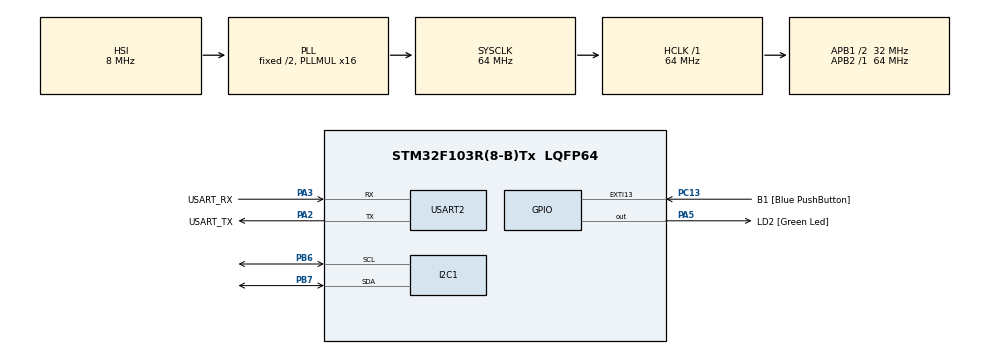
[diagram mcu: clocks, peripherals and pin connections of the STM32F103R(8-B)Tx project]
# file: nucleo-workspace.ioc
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Mcu.Family=STM32F1
PA2.GPIO_PuPd=GPIO_NOPULL
PD1-OSC_OUT.Mode=HSE-External-Oscillator
PA14.GPIO_Label=TCK
PA3.GPIO_PuPd=GPIO_NOPULL
PA2.GPIO_Speed=GPIO_SPEED_FREQ_LOW
PC13-TAMPER-RTC.Signal=GPXTI13
PD0-OSC_IN.Signal=RCC_OSC_IN
RCC.APB1CLKDivider=RCC_HCLK_DIV2
PC14-OSC32_IN.Signal=RCC_OSC32_IN
PA3.GPIO_Speed=GPIO_SPEED_FREQ_LOW
RCC.SYSCLKSource=RCC_SYSCLKSOURCE_PLLCLK
ProjectManager.StackSize=0x400
PD1-OSC_OUT.Signal=RCC_OSC_OUT
PA13.Signal=SYS_JTMS-SWDIO
PA3.Mode=Asynchronous
ProjectManager.TargetToolchain=STM32CubeIDE
PA3.GPIO_Mode=GPIO_MODE_AF_PP
RCC.HCLKFreq_Value=64000000
RCC.APB2TimFreq_Value=64000000
PB6.Signal=I2C1_SCL
PB6.Mode=I2C
RCC.USBFreq_Value=64000000
PC15-OSC32_OUT.Signal=RCC_OSC32_OUT
RCC.AHBFreq_Value=64000000
PD0-OSC_IN.Mode=HSE-External-Oscillator
NVIC.EXTI15_10_IRQn=true\:0\:0\:false\:false\:true\:true\:true
PA5.Signal=GPIO_Output
RCC.HSE_VALUE=16000000
board=NUCLEO-F103RB
RCC.RTCClockSelection=RCC_RTCCLKSOURCE_LSE
PC13-TAMPER-RTC.GPIO_Label=B1 [Blue PushButton]
RCC.PLLMUL=RCC_PLL_MUL16
RCC.APB2Freq_Value=64000000
PA5.GPIO_ModeDefaultOutputPP=GPIO_MODE_OUTPUT_PP
PA14.Mode=Serial_Wire
PA5.GPIO_PuPd=GPIO_NOPULL
PB7.Signal=I2C1_SDA
PA13.Mode=Serial_Wire
Mcu.Name=STM32F103R(8-B)Tx
PA2.Signal=USART2_TX
PA13.GPIO_Label=TMS
PB3.Signal=SYS_JTDO-TRACESWO
RCC.SYSCLKFreq_VALUE=64000000
Mcu.Package=LQFP64
PA5.GPIO_Label=LD2 [Green Led]
USART2.VirtualMode=VM_ASYNC
PC13-TAMPER-RTC.GPIO_PuPd=GPIO_NOPULL
PA2.GPIO_Label=USART_TX
PB7.Mode=I2C
PA14.Signal=SYS_JTCK-SWCLK
ProjectManager.HeapSize=0x200
PA5.GPIO_Speed=GPIO_SPEED_FREQ_LOW
NVIC.PriorityGroup=NVIC_PRIORITYGROUP_4
RCC.APB1TimFreq_Value=64000000
PA2.Mode=Asynchronous
RCC.APB1Freq_Value=32000000
PA3.GPIO_Label=USART_RX
PA3.Signal=USART2_RX
PA2.GPIO_Mode=GPIO_MODE_AF_PP
PB3.GPIO_Label=SWO

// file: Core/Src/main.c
/* USER CODE BEGIN Header */
/**
 ******************************************************************************
 * @file           : main.c
 * @brief          : Main program body
 ******************************************************************************
 * @attention
 *
 * <h2><center>&copy; Copyright (c) 2021 STMicroelectronics.
 * All rights reserved.</center></h2>
 *
 * This software component is licensed by ST under BSD 3-Clause license,
 * the "License"; You may not use this file except in compliance with the
 * License. You may obtain a copy of the License at:
 *                        opensource.org/licenses/BSD-3-Clause
 *
 ******************************************************************************
 */
/* USER CODE END Header */
#include "main.h"

/* USER CODE BEGIN Includes */
#include <stdlib.h>
#include <stdio.h>
#include <string.h>

// Custom Libraries
#include "BMI088.h"

/* USER CODE END Includes */

/* USER CODE BEGIN PTD */

// Library Objects
BMI088IMU imu;

/* USER CODE END PTD */

I2C_HandleTypeDef hi2c1;

UART_HandleTypeDef huart2;

/* USER CODE BEGIN PV */

void printDebug(char *buf)
{
    HAL_UART_Transmit(&huart2, (uint8_t *)buf, strlen(buf), HAL_MAX_DELAY);
}

/* USER CODE END PV */

void SystemClock_Config(void);
static void MX_GPIO_Init(void);
static void MX_USART2_UART_Init(void);
static void MX_I2C1_Init(void);

int main(void)
{
    /* USER CODE BEGIN 1 */

    uint8_t txBuf[32];
    uint8_t rxBuf[32];

    /* USER CODE END 1 */

    /* MCU Configuration--------------------------------------------------------*/

    /* Reset of all peripherals, Initializes the Flash interface and the Systick. */
    HAL_Init();

    /* Configure the system clock */
    SystemClock_Config();

    /* Initialize all configured peripherals */
    MX_GPIO_Init();
    MX_USART2_UART_Init();
    MX_I2C1_Init();
    /* USER CODE BEGIN 2 */

    /* Initialize IMU */
    printDebug("Attempting Init...");
    HAL_Delay(500);
    // uint8_t statIMU = BMI088_Init(&imu, &hi2c1);

    /*
     * ACCELEROMETER
     */

    uint8_t comtxBuf[2];

    /* Soft reset */
    // comtxBuf[0] = BMI088_ACC_SOFTRESET; comtxBuf[1] = 0xB6;
    // HAL_I2C_Master_Transmit(&hi2c1, BMI088_ACC_I2C_ADDR, txBuf, 2, BMI088_I2C_TIMEOUT);

    HAL_Delay(50);

    /* Check chip ID */
    uint8_t chipID;
    debugTest = 0;
    // HAL_I2C_Master_Transmit(&hi2c1, TMP102_ADDR, buf, 1, HAL_MAX_DELAY);
    HAL_I2C_Mem_Read(&hi2c1, BMI088_ACC_I2C_ADDR, BMI088_ACC_CHIP_ID, I2C_MEMADD_SIZE_8BIT, &chipID, 1, BMI088_I2C_TIMEOUT);

    if (chipID != 0x1E)
    {
        printDebug("chipID != 0x1E");
    }

    /* USER CODE END 2 */

    /* Infinite loop */
    while (1)
    {

    }
}

void SystemClock_Config(void)
{
    RCC_OscInitTypeDef RCC_OscInitStruct = {0};
    RCC_ClkInitTypeDef RCC_ClkInitStruct = {0};

    /** Initializes the RCC Oscillators according to the specified parameters
     * in the RCC_OscInitTypeDef structure.
     */
    RCC_OscInitStruct.OscillatorType = RCC_OSCILLATORTYPE_HSI;
    RCC_OscInitStruct.HSIState = RCC_HSI_ON;
    RCC_OscInitStruct.HSICalibrationValue = RCC_HSICALIBRATION_DEFAULT;
    RCC_OscInitStruct.PLL.PLLState = RCC_PLL_ON;
    RCC_OscInitStruct.PLL.PLLSource = RCC_PLLSOURCE_HSI_DIV2;
    RCC_OscInitStruct.PLL.PLLMUL = RCC_PLL_MUL16;
    if (HAL_RCC_OscConfig(&RCC_OscInitStruct) != HAL_OK)
    {
        Error_Handler();
    }
    /** Initializes the CPU, AHB and APB buses clocks
     */
    RCC_ClkInitStruct.ClockType = RCC_CLOCKTYPE_HCLK|RCC_CLOCKTYPE_SYSCLK
            |RCC_CLOCKTYPE_PCLK1|RCC_CLOCKTYPE_PCLK2;
    RCC_ClkInitStruct.SYSCLKSource = RCC_SYSCLKSOURCE_PLLCLK;
    RCC_ClkInitStruct.AHBCLKDivider = RCC_SYSCLK_DIV1;
    RCC_ClkInitStruct.APB1CLKDivider = RCC_HCLK_DIV2;
    RCC_ClkInitStruct.APB2CLKDivider = RCC_HCLK_DIV1;

    if (HAL_RCC_ClockConfig(&RCC_ClkInitStruct, FLASH_LATENCY_2) != HAL_OK)
    {
        Error_Handler();
    }
}

static void MX_I2C1_Init(void)
{

    hi2c1.Instance = I2C1;
    hi2c1.Init.ClockSpeed = 100000;
    hi2c1.Init.DutyCycle = I2C_DUTYCYCLE_2;
    hi2c1.Init.OwnAddress1 = 0;
    hi2c1.Init.AddressingMode = I2C_ADDRESSINGMODE_7BIT;
    hi2c1.Init.DualAddressMode = I2C_DUALADDRESS_DISABLE;
    hi2c1.Init.OwnAddress2 = 0;
    hi2c1.Init.GeneralCallMode = I2C_GENERALCALL_DISABLE;
    hi2c1.Init.NoStretchMode = I2C_NOSTRETCH_DISABLE;
    if (HAL_I2C_Init(&hi2c1) != HAL_OK)
    {
        Error_Handler();
    }

}

static void MX_USART2_UART_Init(void)
{

    huart2.Instance = USART2;
    huart2.Init.BaudRate = 115200;
    huart2.Init.WordLength = UART_WORDLENGTH_8B;
    huart2.Init.StopBits = UART_STOPBITS_1;
    huart2.Init.Parity = UART_PARITY_NONE;
    huart2.Init.Mode = UART_MODE_TX_RX;
    huart2.Init.HwFlowCtl = UART_HWCONTROL_NONE;
    huart2.Init.OverSampling = UART_OVERSAMPLING_16;
    if (HAL_UART_Init(&huart2) != HAL_OK)
    {
        Error_Handler();
    }

}

static void MX_GPIO_Init(void)
{
    GPIO_InitTypeDef GPIO_InitStruct = {0};

    /* GPIO Ports Clock Enable */
    __HAL_RCC_GPIOC_CLK_ENABLE();
    __HAL_RCC_GPIOD_CLK_ENABLE();
    __HAL_RCC_GPIOA_CLK_ENABLE();
    __HAL_RCC_GPIOB_CLK_ENABLE();

    /*Configure GPIO pin Output Level */
    HAL_GPIO_WritePin(LD2_GPIO_Port, LD2_Pin, GPIO_PIN_RESET);

    /*Configure GPIO pin : B1_Pin */
    GPIO_InitStruct.Pin = B1_Pin;
    GPIO_InitStruct.Mode = GPIO_MODE_IT_RISING;
    GPIO_InitStruct.Pull = GPIO_NOPULL;
    HAL_GPIO_Init(B1_GPIO_Port, &GPIO_InitStruct);

    /*Configure GPIO pin : LD2_Pin */
    GPIO_InitStruct.Pin = LD2_Pin;
    GPIO_InitStruct.Mode = GPIO_MODE_OUTPUT_PP;
    GPIO_InitStruct.Pull = GPIO_NOPULL;
    GPIO_InitStruct.Speed = GPIO_SPEED_FREQ_LOW;
    HAL_GPIO_Init(LD2_GPIO_Port, &GPIO_InitStruct);

    /* EXTI interrupt init*/
    HAL_NVIC_SetPriority(EXTI15_10_IRQn, 0, 0);
    HAL_NVIC_EnableIRQ(EXTI15_10_IRQn);

}

void Error_Handler(void)
{
    __disable_irq();
    while (1)
    {
    }
}

/************************ (C) COPYRIGHT STMicroelectronics *****END OF FILE****/
